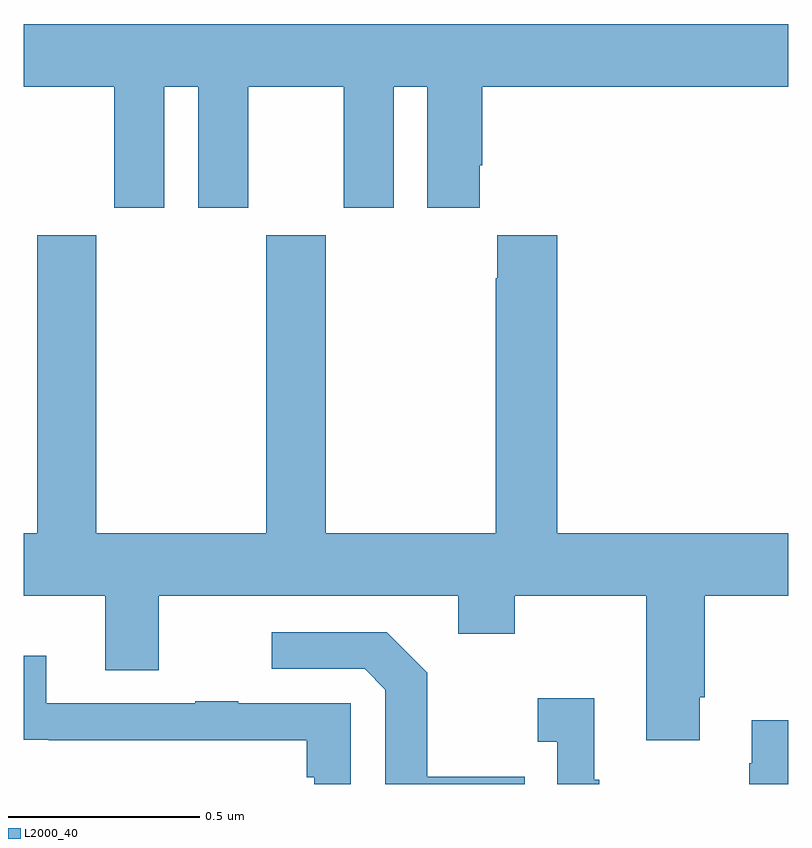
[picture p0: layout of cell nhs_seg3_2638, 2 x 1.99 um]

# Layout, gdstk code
import gdstk
lib = gdstk.Library(unit=1e-6, precision=1e-09)
def P(c, l, *ps):  # polygons
    for p in ps: c.add(gdstk.Polygon(p, *l))
L2000_40 = (2000, 40)

nhs_seg3_2638 = lib.new_cell('nhs_seg3_2638')
P(nhs_seg3_2638, L2000_40, [(143.368,726.224),(143.456,726.224),(143.456,725.907),(143.587,725.907),(143.587,726.224),(143.837,726.224),(143.837,725.907),(143.968,725.907),(143.968,726.224),(144.056,726.224),(144.056,725.907),(144.193,725.907),(144.193,726.019),(144.2,726.019),(144.2,726.224),(145,726.224),(145,726.388),(143,726.388),(143,726.224),(143.237,726.224),(143.237,725.907),(143.368,725.907)],
  [(144.769,724.627),(144.782,724.627),(144.782,724.892),(145,724.892),(145,725.056),(144.395,725.056),(144.395,725.836),(144.239,725.836),(144.239,725.723),(144.235,725.723),(144.235,725.056),(143.79,725.056),(143.79,725.836),(143.635,725.836),(143.635,725.056),(143.19,725.056),(143.19,725.836),(143.035,725.836),(143.035,725.056),(143,725.056),(143,724.892),(143.213,724.892),(143.213,724.698),(143.353,724.698),(143.353,724.892),(144.137,724.892),(144.137,724.793),(144.285,724.793),(144.285,724.892),(144.629,724.892),(144.629,724.515),(144.769,724.515)],
  [(144.311,724.419),(144.055,724.419),(144.055,724.691),(143.949,724.797),(143.649,724.797),(143.649,724.701),(143.892,724.701),(143.946,724.647),(143.946,724.4),(144.311,724.4)],
  [(143.856,724.611),(143.561,724.611),(143.561,724.616),(143.449,724.616),(143.449,724.611),(143.059,724.611),(143.059,724.735),(143,724.735),(143,724.516),(143.065,724.516),(143.065,724.515),(143.74,724.515),(143.74,724.418),(143.76,724.418),(143.76,724.4),(143.856,724.4)],
  [(144.505,724.411),(144.493,724.411),(144.493,724.624),(144.345,724.624),(144.345,724.511),(144.396,724.511),(144.396,724.4),(144.505,724.4)],
  [(145,724.567),(144.905,724.567),(144.905,724.454),(144.898,724.454),(144.898,724.4),(145,724.4)])

lib.write_gds('nhs_seg3_2638.gds')
